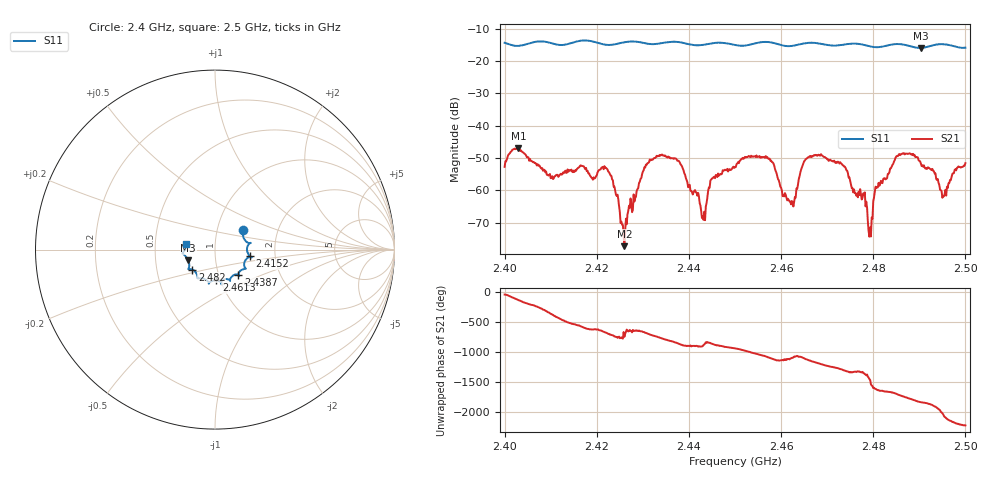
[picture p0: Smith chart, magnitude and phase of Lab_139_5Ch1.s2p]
# Hz S RI R 50
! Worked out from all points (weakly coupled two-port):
!   601 points, 2.4 GHz to 2.5 GHz, reference 50 ohm
!   highest |S21| = -47.04 dB at 2.403 GHz (marker M1); lowest = -77.3 dB at 2.426 GHz (marker M2)
!   lowest |S11| = -15.9 dB at 2.4903 GHz (marker M3), VSWR 1.38, Z = 36.8 - j4.45 ohm
!   |S11| at or under -10 dB: start of sweep to end of sweep
!   S12 and S22 are empty: the file has one direction only
!   S11 on the Smith chart (normalised r, x): 2.4 GHz: 1.33, +0.31; 2.4152 GHz: 1.48, -0.11; 2.4387 GHz: 1.24, -0.37; 2.4613 GHz: 0.96, -0.34; 2.482 GHz: 0.76, -0.17; 2.5 GHz: 0.72, +0.05
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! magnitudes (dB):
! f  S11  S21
! 2.4 GHz  -14.3  -52.8
! 2.403 GHz  -15.3  -47.0
! 2.4152 GHz  -14.1  -54.3
! 2.4167 GHz  -13.6  -52.4
! 2.4225 GHz  -15.0  -54.2
! 2.426 GHz  -14.1  -77.3
! 2.4303 GHz  -14.4  -52.9
! 2.4333 GHz  -14.6  -49.3
! 2.4387 GHz  -14.3  -53.2
! 2.4432 GHz  -14.9  -69.2
! 2.4452 GHz  -14.4  -56.3
! 2.45 GHz  -15.0  -52.9
! 2.4572 GHz  -14.1  -50.1
! 2.4613 GHz  -15.3  -63.1
! 2.4667 GHz  -14.3  -49.4
! 2.4735 GHz  -14.9  -52.3
! 2.4793 GHz  -15.4  -71.5
! 2.482 GHz  -15.5  -57.8
! 2.4833 GHz  -15.0  -54.9
! 2.4903 GHz  -15.9  -51.7
! 2.4953 GHz  -14.8  -61.9
! 2.5 GHz  -15.8  -51.6
